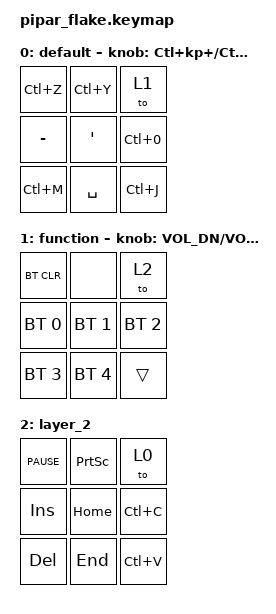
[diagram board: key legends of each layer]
/*
 * Copyright (c) 2022 The ZMK Contributors
 *
 * SPDX-License-Identifier: MIT
 */

#include <behaviors.dtsi>
#include <dt-bindings/zmk/bt.h>
#include <dt-bindings/zmk/keys.h>

#define BASE        0
#define FUNC        1

/ {
    sensors: sensors {
        compatible = "zmk,keymap-sensors";
        sensors = <&encoder_1>;
        triggers-per-rotation = <24>;
    };

    keymap {
        compatible = "zmk,keymap";

        default_layer {
            // ---------------------------//
            // | Q    | W     | ENCODER | //
            // | A    | S     | D       | //
            // | Z    | X     | FN      | //

            display-name = "default";
            bindings = <
&kp LC(Z)  &kp LC(Y)  &to 1
&kp MINUS  &kp SQT    &kp LC(N0)
&kp LC(M)  &kp SPACE  &kp LC(J)
            >;

            sensor-bindings = <&inc_dec_kp LC(KP_PLUS) LC(MINUS)>;
        };

        function_layer {
            // --------------------------- //
            // | BT_CLR | none | ENCODER | //
            // | BT_0   | BT_1 | BT_2    | //
            // | BT_3   | BT_4 | trans   | //

            display-name = "function";
            bindings = <
&bt BT_CLR    &none         &to 2
&bt BT_SEL 0  &bt BT_SEL 1  &bt BT_SEL 2
&bt BT_SEL 3  &bt BT_SEL 4  &trans
            >;

            sensor-bindings = <&inc_dec_kp C_VOL_DN C_VOL_UP>;
        };

        layer_2 {
            bindings = <
&kp C_PAUSE  &kp PRINTSCREEN  &to 0
&kp INS      &kp HOME         &kp LC(C)
&kp DELETE   &kp END          &kp LC(V)
            >;
        };
    };
};
